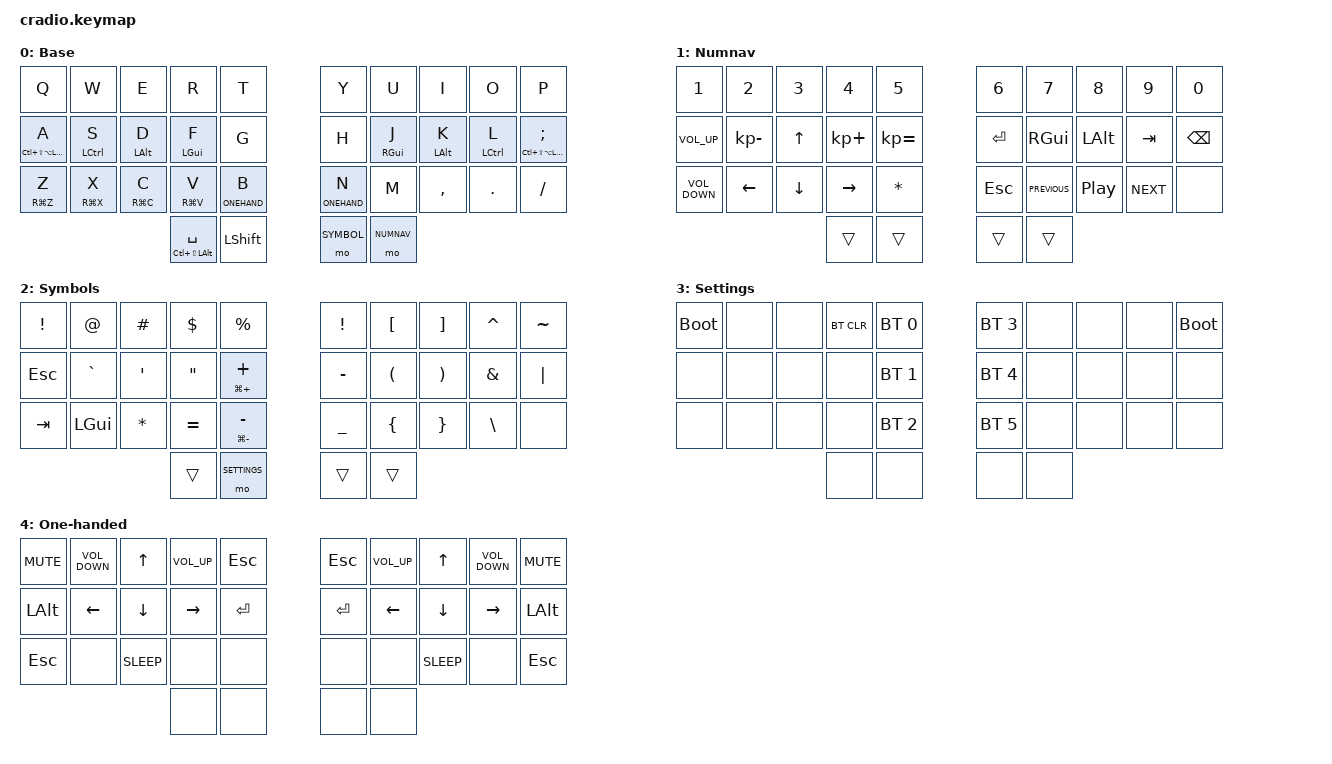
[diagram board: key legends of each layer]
#include <behaviors.dtsi>
#include <dt-bindings/zmk/bt.h>
#include <dt-bindings/zmk/keys.h>

// Layer definitions

#define BASE 0
#define NUMNAV 1
#define SYMBOL 2
#define SETTINGS 3
#define ONEHAND 4

// -----------------

&mt {
    flavor = "tap-preferred";
    tapping_term_ms = <210>;
    quick_tap_ms = <0>;
    retro-tap;
};

/ {
    keymap {
        compatible = "zmk,keymap";

        // Base alpha layer

        base_layer {
            label = "Base";
            bindings = <
&kp Q                   &kp W               &kp E           &kp R                   &kp T            &kp Y          &kp U            &kp I           &kp O               &kp P
&mt LC(LS(LA(LGUI))) A  &mt LEFT_CONTROL S  &mt LEFT_ALT D  &mt LEFT_GUI F          &kp G            &kp H          &mt RIGHT_GUI J  &mt LEFT_ALT K  &mt LEFT_CONTROL L  &mt LC(LS(LA(LGUI))) SEMICOLON
&mt RG(Z) Z             &mt RG(X) X         &mt RG(C) C     &mt RG(V) V             &lt ONEHAND B    &lt ONEHAND N  &kp M            &kp COMMA       &kp DOT             &kp SLASH
                                                            &mt LC(LS(LALT)) SPACE  &kp LSHIFT       &mo SYMBOL     &mo NUMNAV
            >;
        };

        // Numbers and arrow key navigation

        numnav_layer {
            label = "Numnav";
            bindings = <
&kp N1             &kp N2        &kp N3    &kp N4       &kp N5          &kp N6      &kp N7          &kp N8            &kp N9      &kp N0
&kp C_VOLUME_UP    &kp KP_MINUS  &kp UP    &kp KP_PLUS  &kp KP_EQUAL    &kp ENTER   &kp RIGHT_GUI   &kp LEFT_ALT      &kp TAB     &kp BACKSPACE
&kp C_VOLUME_DOWN  &kp LEFT      &kp DOWN  &kp RIGHT    &kp ASTRK       &kp ESCAPE  &kp C_PREVIOUS  &kp C_PLAY_PAUSE  &kp C_NEXT  &none
                                           &trans       &trans          &trans      &trans
            >;
        };

        // Symbols organized by use

        sym_layer {
            label = "Symbols";
            bindings = <
&kp EXCLAMATION  &kp AT        &kp HASH        &kp DOLLAR         &kp PERCENT            &kp EXCL        &kp LEFT_BRACKET      &kp RIGHT_BRACKET      &kp CARET      &kp TILDE
&kp ESCAPE       &kp GRAVE     &kp APOSTROPHE  &kp DOUBLE_QUOTES  &mt LG(PLUS) PLUS      &kp MINUS       &kp LEFT_PARENTHESIS  &kp RIGHT_PARENTHESIS  &kp AMPERSAND  &kp PIPE
&kp TAB          &kp LEFT_GUI  &kp ASTERISK    &kp EQUAL          &mt LG(MINUS) MINUS    &kp UNDERSCORE  &kp LEFT_BRACE        &kp RIGHT_BRACE        &kp BACKSLASH  &none
                                               &trans             &mo SETTINGS           &trans          &trans
            >;
        };

        // Used to change the keyboard's settings

        settings_layer {
            label = "Settings";
            bindings = <
&bootloader  &none  &none  &bt BT_CLR  &bt BT_SEL 0    &bt BT_SEL 3  &none  &none  &none  &bootloader
&none        &none  &none  &none       &bt BT_SEL 1    &bt BT_SEL 4  &none  &none  &none  &none
&none        &none  &none  &none       &bt BT_SEL 2    &bt BT_SEL 5  &none  &none  &none  &none
                           &none       &none           &none         &none
            >;
        };

        // Controls for one-handed use

        onehanded_layer {
            label = "One-handed";
            bindings = <
&kp C_MUTE    &kp C_VOLUME_DOWN  &kp UP       &kp C_VOLUME_UP  &kp ESCAPE    &kp ESCAPE  &kp C_VOLUME_UP  &kp UP       &kp C_VOLUME_DOWN  &kp C_MUTE
&kp LEFT_ALT  &kp LEFT           &kp DOWN     &kp RIGHT        &kp ENTER     &kp ENTER   &kp LEFT         &kp DOWN     &kp RIGHT          &kp LEFT_ALT
&kp ESCAPE    &none              &kp C_SLEEP  &none            &none         &none       &none            &kp C_SLEEP  &none              &kp ESCAPE
                                              &none            &none         &none       &none
            >;
        };
    };
};
